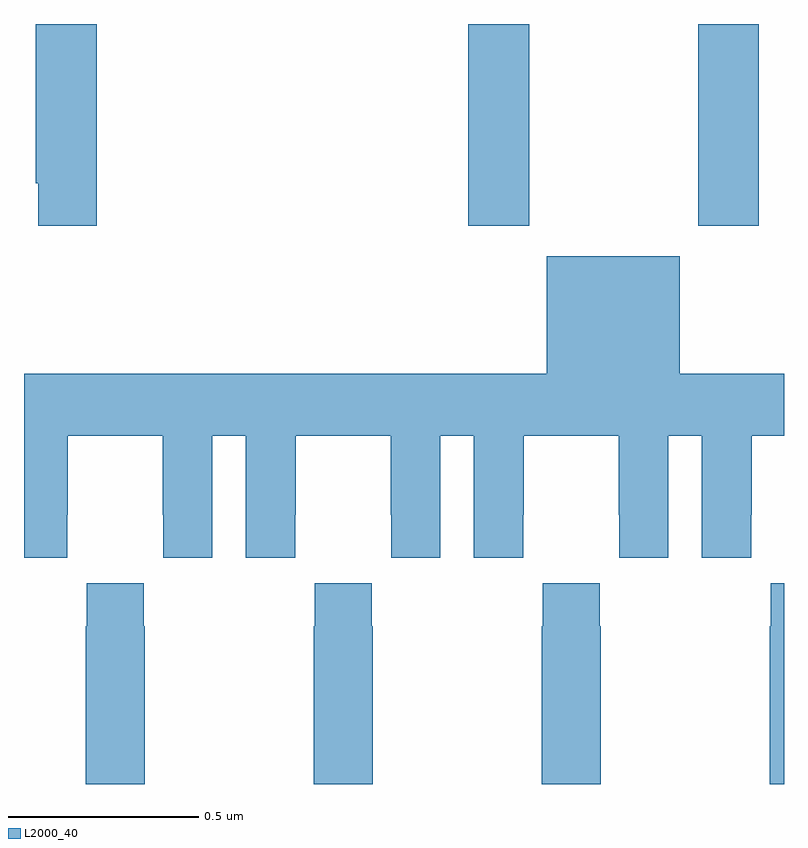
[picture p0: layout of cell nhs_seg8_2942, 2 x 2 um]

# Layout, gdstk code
import gdstk
lib = gdstk.Library(unit=1e-6, precision=1e-09)
def R(c, l, rs):  # rectangles x0, y0, x1, y1
    for r in rs: c.add(gdstk.rectangle(r[:2], r[2:], *l))
def P(c, l, *ps):  # polygons
    for p in ps: c.add(gdstk.Polygon(p, *l))
L2000_40 = (2000, 40)

nhs_seg8_2942 = lib.new_cell('nhs_seg8_2942')
R(nhs_seg8_2942, L2000_40, [(151.169,1134.369,151.329,1134.9), (151.774,1134.369,151.934,1134.9)])
P(nhs_seg8_2942, L2000_40, [(150.191,1134.9),(150.031,1134.9),(150.031,1134.481),(150.037,1134.481),(150.037,1134.369),(150.191,1134.369)],
  [(150,1133.496),(150.114,1133.496),(150.114,1133.608),(150.115,1133.608),(150.115,1133.816),(150.365,1133.816),(150.365,1133.608),(150.366,1133.608),(150.366,1133.496),(150.496,1133.496),(150.496,1133.816),(150.584,1133.816),(150.584,1133.496),(150.714,1133.496),(150.714,1133.608),(150.715,1133.608),(150.715,1133.816),(150.965,1133.816),(150.965,1133.608),(150.966,1133.608),(150.966,1133.496),(151.096,1133.496),(151.096,1133.816),(151.184,1133.816),(151.184,1133.496),(151.314,1133.496),(151.314,1133.608),(151.315,1133.608),(151.315,1133.816),(151.565,1133.816),(151.565,1133.608),(151.566,1133.608),(151.566,1133.496),(151.696,1133.496),(151.696,1133.816),(151.784,1133.816),(151.784,1133.496),(151.914,1133.496),(151.914,1133.608),(151.915,1133.608),(151.915,1133.816),(152,1133.816),(152,1133.98),(151.726,1133.98),(151.726,1134.289),(151.376,1134.289),(151.376,1133.98),(150,1133.98)],
  [(152,1133.428),(151.965,1133.428),(151.965,1133.315),(151.963,1133.315),(151.963,1132.9),(152,1132.9)],
  [(150.918,1133.315),(150.915,1133.315),(150.915,1133.428),(150.765,1133.428),(150.765,1133.315),(150.763,1133.315),(150.763,1132.9),(150.918,1132.9)],
  [(150.318,1133.315),(150.315,1133.315),(150.315,1133.428),(150.165,1133.428),(150.165,1133.315),(150.163,1133.315),(150.163,1132.9),(150.318,1132.9)],
  [(151.518,1133.315),(151.515,1133.315),(151.515,1133.428),(151.365,1133.428),(151.365,1133.315),(151.363,1133.315),(151.363,1132.9),(151.518,1132.9)])

lib.write_gds('nhs_seg8_2942.gds')
